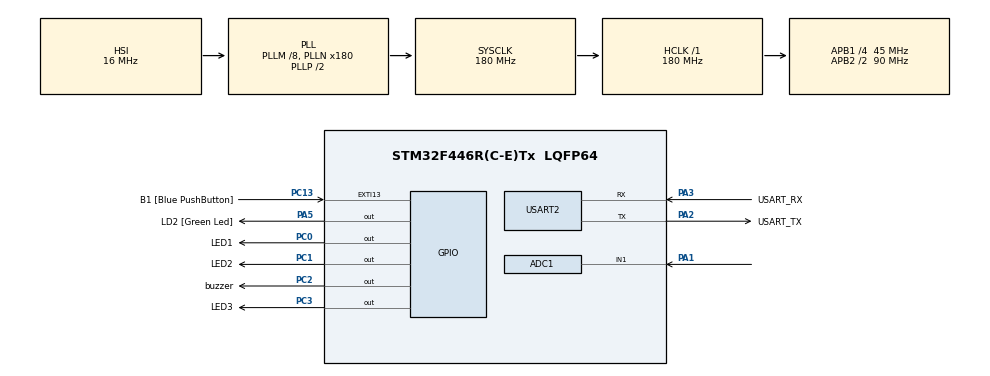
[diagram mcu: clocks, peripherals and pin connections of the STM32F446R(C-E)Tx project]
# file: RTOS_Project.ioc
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ADC1.Channel-0\#ChannelRegularConversion=ADC_CHANNEL_1
ADC1.ClockPrescaler=ADC_CLOCK_SYNC_PCLK_DIV4
ADC1.ContinuousConvMode=DISABLE
ADC1.DMAContinuousRequests=DISABLE
ADC1.DataAlign=ADC_DATAALIGN_RIGHT
ADC1.DiscontinuousConvMode=DISABLE
ADC1.EOCSelection=ADC_EOC_SINGLE_CONV
ADC1.EnableAnalogWatchDog=false
ADC1.ExternalTrigConv=ADC_SOFTWARE_START
ADC1.ExternalTrigConvEdge=ADC_EXTERNALTRIGCONVEDGE_NONE
ADC1.InjNumberOfConversion=0
ADC1.NbrOfConversion=1
ADC1.NbrOfConversionFlag=1
ADC1.Rank-0\#ChannelRegularConversion=1
ADC1.Resolution=ADC_RESOLUTION_12B
ADC1.SamplingTime-0\#ChannelRegularConversion=ADC_SAMPLETIME_480CYCLES
ADC1.ScanConvMode=DISABLE
ADC1.master=1
FREERTOS.Mutexes01=myMutexUART,Dynamic,NULL;myMutexADC,Dynamic,NULL
FREERTOS.Tasks01=defaultTask,0,128,StartDefaultTask,Default,NULL,Dynamic,NULL,NULL;myTask02,0,128,StartTask02,Default,NULL,Dynamic,NULL,NULL;myTask03,0,128,StartTask03,Default,NULL,Dynamic,NULL,NULL;myTask04,0,128,StartTask04,Default,NULL,Dynamic,NULL,NULL
Mcu.Family=STM32F4
Mcu.Name=STM32F446R(C-E)Tx
Mcu.Package=LQFP64
NVIC.PriorityGroup=NVIC_PRIORITYGROUP_4
NVIC.TIM2_IRQn=true\:0\:0\:false\:false\:true\:false\:false
NVIC.TimeBase=TIM2_IRQn
NVIC.TimeBaseIP=TIM2
PA1.Signal=ADCx_IN1
PA13.GPIO_Label=TMS
PA13.Mode=Serial_Wire
PA13.Signal=SYS_JTMS-SWDIO
PA14.GPIO_Label=TCK
PA14.Mode=Serial_Wire
PA14.Signal=SYS_JTCK-SWCLK
PA2.GPIO_Label=USART_TX
PA2.Mode=Asynchronous
PA2.Signal=USART2_TX
PA3.GPIO_Label=USART_RX
PA3.Mode=Asynchronous
PA3.Signal=USART2_RX
PA5.GPIO_Label=LD2 [Green Led]
PA5.Signal=GPIO_Output
PB3.GPIO_Label=SWO
PB3.Signal=SYS_JTDO-SWO
PC0.GPIO_Label=LED1
PC0.Signal=GPIO_Output
PC1.GPIO_Label=LED2
PC1.Signal=GPIO_Output
PC13.GPIO_Label=B1 [Blue PushButton]
PC13.GPIO_ModeDefaultEXTI=GPIO_MODE_IT_FALLING
PC13.Signal=GPXTI13
PC14-OSC32_IN.Mode=LSE-External-Oscillator
PC14-OSC32_IN.Signal=RCC_OSC32_IN
PC15-OSC32_OUT.Mode=LSE-External-Oscillator
PC15-OSC32_OUT.Signal=RCC_OSC32_OUT
PC2.GPIO_Label=buzzer
PC2.Signal=GPIO_Output
PC3.GPIO_Label=LED3
PC3.Signal=GPIO_Output
PH0-OSC_IN.Mode=HSE-External-Oscillator
PH0-OSC_IN.Signal=RCC_OSC_IN
PH1-OSC_OUT.Mode=HSE-External-Oscillator
PH1-OSC_OUT.Signal=RCC_OSC_OUT
ProjectManager.HeapSize=0x200
ProjectManager.StackSize=0x400
ProjectManager.TargetToolchain=SW4STM32
RCC.48MHZClocksFreq_Value=84000000
RCC.AHBFreq_Value=180000000
RCC.APB1CLKDivider=RCC_HCLK_DIV4
RCC.APB1Freq_Value=45000000
RCC.APB1TimFreq_Value=90000000
RCC.APB2CLKDivider=RCC_HCLK_DIV2
RCC.APB2Freq_Value=90000000
RCC.APB2TimFreq_Value=180000000
RCC.CortexFreq_Value=180000000
RCC.FLatency-AdvancedSettings=FLASH_LATENCY_5
RCC.HCLKFreq_Value=180000000
RCC.HSE_VALUE=8000000
RCC.HSI_VALUE=16000000
RCC.PLLM=8
RCC.PLLN=180
RCC.SYSCLKFreq_VALUE=180000000
RCC.SYSCLKSource=RCC_SYSCLKSOURCE_PLLCLK
RCC.USBFreq_Value=180000000
RCC.VCOOutputFreq_Value=360000000
SH.ADCx_IN1.0=ADC1_IN1,IN1
USART2.VirtualMode=VM_ASYNC
VP_FREERTOS_VS_ENABLE.Mode=Enabled
VP_SYS_VS_tim2.Mode=TIM2
board=NUCLEO-F446RE

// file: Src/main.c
/*
 * Tegangan input ditampilkan dilayar komputer setiap 3 detik
 * dapat di intervensi dgn menekan tombol 'a' pada keyboard
 *
 * buzzer On ketika nilai input > 2000
 *
 * Indikator LED berkedip dgn durasi ON: 100ms dan OFF:1000ms
 */

#include "main.h"
#include "stm32f4xx_hal.h"
#include "cmsis_os.h"

char buff[]="hello world \n\r";
int adcValue;
float volt;
char ch[1];/* USER CODE END PV */

ADC_HandleTypeDef hadc1;

UART_HandleTypeDef huart2;

osThreadId defaultTaskHandle;
osThreadId myTask02Handle;
osThreadId myTask03Handle;
osThreadId myTask04Handle;
osMutexId myMutexUARTHandle;
osMutexId myMutexADCHandle;

/* USER CODE BEGIN PV */
/* Private variables ---------------------------------------------------------*/

/* USER CODE END PV */

void SystemClock_Config(void);
static void MX_GPIO_Init(void);
static void MX_USART2_UART_Init(void);
static void MX_ADC1_Init(void);
void StartDefaultTask(void const * argument);
void StartTask02(void const * argument);
void StartTask03(void const * argument);
void StartTask04(void const * argument);

/* USER CODE BEGIN PFP */
/* Private function prototypes -----------------------------------------------*/

/* USER CODE END PFP */

int main(void)
{

	/* MCU Configuration----------------------------------------------------------*/

	/* Reset of all peripherals, Initializes the Flash interface and the Systick. */
	HAL_Init();

	/* Configure the system clock */
	SystemClock_Config();

	/* Initialize all configured peripherals */
	MX_GPIO_Init();
	MX_USART2_UART_Init();
	MX_ADC1_Init();

	/* Create the mutex(es) */
	/* definition and creation of myMutexUART */
	osMutexDef(myMutexUART);
	myMutexUARTHandle = osMutexCreate(osMutex(myMutexUART));

	/* definition and creation of myMutexADC */
	osMutexDef(myMutexADC);
	myMutexADCHandle = osMutexCreate(osMutex(myMutexADC));

	/* Create the thread(s) */
	/* definition and creation of defaultTask */
	osThreadDef(defaultTask, StartDefaultTask, osPriorityNormal, 0, 256);
	defaultTaskHandle = osThreadCreate(osThread(defaultTask), NULL);

	/* definition and creation of myTask02 */
	osThreadDef(myTask02, StartTask02, osPriorityNormal, 0, 256);
	myTask02Handle = osThreadCreate(osThread(myTask02), NULL);

	/* definition and creation of myTask03 */
	osThreadDef(myTask03, StartTask03, osPriorityNormal, 0, 256);
	myTask03Handle = osThreadCreate(osThread(myTask03), NULL);

	/* definition and creation of myTask04 */
	osThreadDef(myTask04, StartTask04, osPriorityNormal, 0, 256);
	myTask04Handle = osThreadCreate(osThread(myTask04), NULL);

	/* Start scheduler */
	osKernelStart();

	/* We should never get here as control is now taken by the scheduler */

	/* Infinite loop */
	while (1)
	{

	}

}

void SystemClock_Config(void)
{

	RCC_OscInitTypeDef RCC_OscInitStruct;
	RCC_ClkInitTypeDef RCC_ClkInitStruct;

	/**Configure the main internal regulator output voltage
	 */
	__HAL_RCC_PWR_CLK_ENABLE();

	__HAL_PWR_VOLTAGESCALING_CONFIG(PWR_REGULATOR_VOLTAGE_SCALE1);

	/**Initializes the CPU, AHB and APB busses clocks
	 */
	RCC_OscInitStruct.OscillatorType = RCC_OSCILLATORTYPE_HSI;
	RCC_OscInitStruct.HSIState = RCC_HSI_ON;
	RCC_OscInitStruct.HSICalibrationValue = 16;
	RCC_OscInitStruct.PLL.PLLState = RCC_PLL_ON;
	RCC_OscInitStruct.PLL.PLLSource = RCC_PLLSOURCE_HSI;
	RCC_OscInitStruct.PLL.PLLM = 8;
	RCC_OscInitStruct.PLL.PLLN = 180;
	RCC_OscInitStruct.PLL.PLLP = RCC_PLLP_DIV2;
	RCC_OscInitStruct.PLL.PLLQ = 2;
	RCC_OscInitStruct.PLL.PLLR = 2;
	if (HAL_RCC_OscConfig(&RCC_OscInitStruct) != HAL_OK)
	{
		_Error_Handler(__FILE__, __LINE__);
	}

	/**Activate the Over-Drive mode
	 */
	if (HAL_PWREx_EnableOverDrive() != HAL_OK)
	{
		_Error_Handler(__FILE__, __LINE__);
	}

	/**Initializes the CPU, AHB and APB busses clocks
	 */
	RCC_ClkInitStruct.ClockType = RCC_CLOCKTYPE_HCLK|RCC_CLOCKTYPE_SYSCLK
			|RCC_CLOCKTYPE_PCLK1|RCC_CLOCKTYPE_PCLK2;
	RCC_ClkInitStruct.SYSCLKSource = RCC_SYSCLKSOURCE_PLLCLK;
	RCC_ClkInitStruct.AHBCLKDivider = RCC_SYSCLK_DIV1;
	RCC_ClkInitStruct.APB1CLKDivider = RCC_HCLK_DIV4;
	RCC_ClkInitStruct.APB2CLKDivider = RCC_HCLK_DIV2;

	if (HAL_RCC_ClockConfig(&RCC_ClkInitStruct, FLASH_LATENCY_5) != HAL_OK)
	{
		_Error_Handler(__FILE__, __LINE__);
	}

	/**Configure the Systick interrupt time
	 */
	HAL_SYSTICK_Config(HAL_RCC_GetHCLKFreq()/1000);

	/**Configure the Systick
	 */
	HAL_SYSTICK_CLKSourceConfig(SYSTICK_CLKSOURCE_HCLK);

	/* SysTick_IRQn interrupt configuration */
	HAL_NVIC_SetPriority(SysTick_IRQn, 15, 0);
}

/* ADC1 init function */
static void MX_ADC1_Init(void)
{

	ADC_ChannelConfTypeDef sConfig;

	/**Configure the global features of the ADC (Clock, Resolution, Data Alignment and number of conversion)
	 */
	hadc1.Instance = ADC1;
	hadc1.Init.ClockPrescaler = ADC_CLOCK_SYNC_PCLK_DIV4;
	hadc1.Init.Resolution = ADC_RESOLUTION_12B;
	hadc1.Init.ScanConvMode = DISABLE;
	hadc1.Init.ContinuousConvMode = DISABLE;
	hadc1.Init.DiscontinuousConvMode = DISABLE;
	hadc1.Init.ExternalTrigConvEdge = ADC_EXTERNALTRIGCONVEDGE_NONE;
	hadc1.Init.ExternalTrigConv = ADC_SOFTWARE_START;
	hadc1.Init.DataAlign = ADC_DATAALIGN_RIGHT;
	hadc1.Init.NbrOfConversion = 1;
	hadc1.Init.DMAContinuousRequests = DISABLE;
	hadc1.Init.EOCSelection = ADC_EOC_SINGLE_CONV;
	if (HAL_ADC_Init(&hadc1) != HAL_OK)
	{
		_Error_Handler(__FILE__, __LINE__);
	}

	/**Configure for the selected ADC regular channel its corresponding rank in the sequencer and its sample time.
	 */
	sConfig.Channel = ADC_CHANNEL_1;
	sConfig.Rank = 1;
	sConfig.SamplingTime = ADC_SAMPLETIME_480CYCLES;
	if (HAL_ADC_ConfigChannel(&hadc1, &sConfig) != HAL_OK)
	{
		_Error_Handler(__FILE__, __LINE__);
	}

}

/* USART2 init function */
static void MX_USART2_UART_Init(void)
{

	huart2.Instance = USART2;
	huart2.Init.BaudRate = 115200;
	huart2.Init.WordLength = UART_WORDLENGTH_8B;
	huart2.Init.StopBits = UART_STOPBITS_1;
	huart2.Init.Parity = UART_PARITY_NONE;
	huart2.Init.Mode = UART_MODE_TX_RX;
	huart2.Init.HwFlowCtl = UART_HWCONTROL_NONE;
	huart2.Init.OverSampling = UART_OVERSAMPLING_16;
	if (HAL_UART_Init(&huart2) != HAL_OK)
	{
		_Error_Handler(__FILE__, __LINE__);
	}

}

/** Configure pins as
 * Analog
 * Input
 * Output
 * EVENT_OUT
 * EXTI
 */
static void MX_GPIO_Init(void)
{

	GPIO_InitTypeDef GPIO_InitStruct;

	/* GPIO Ports Clock Enable */
	__HAL_RCC_GPIOC_CLK_ENABLE();
	__HAL_RCC_GPIOH_CLK_ENABLE();
	__HAL_RCC_GPIOA_CLK_ENABLE();
	__HAL_RCC_GPIOB_CLK_ENABLE();

	/*Configure GPIO pin Output Level */
	HAL_GPIO_WritePin(GPIOC, LED1_Pin|LED2_Pin|buzzer_Pin|LED3_Pin, GPIO_PIN_RESET);

	/*Configure GPIO pin Output Level */
	HAL_GPIO_WritePin(LD2_GPIO_Port, LD2_Pin, GPIO_PIN_RESET);

	/*Configure GPIO pin : B1_Pin */
	GPIO_InitStruct.Pin = B1_Pin;
	GPIO_InitStruct.Mode = GPIO_MODE_IT_FALLING;
	GPIO_InitStruct.Pull = GPIO_NOPULL;
	HAL_GPIO_Init(B1_GPIO_Port, &GPIO_InitStruct);

	/*Configure GPIO pins : LED1_Pin LED2_Pin buzzer_Pin LED3_Pin */
	GPIO_InitStruct.Pin = LED1_Pin|LED2_Pin|buzzer_Pin|LED3_Pin;
	GPIO_InitStruct.Mode = GPIO_MODE_OUTPUT_PP;
	GPIO_InitStruct.Pull = GPIO_NOPULL;
	GPIO_InitStruct.Speed = GPIO_SPEED_FREQ_LOW;
	HAL_GPIO_Init(GPIOC, &GPIO_InitStruct);

	/*Configure GPIO pin : LD2_Pin */
	GPIO_InitStruct.Pin = LD2_Pin;
	GPIO_InitStruct.Mode = GPIO_MODE_OUTPUT_PP;
	GPIO_InitStruct.Pull = GPIO_NOPULL;
	GPIO_InitStruct.Speed = GPIO_SPEED_FREQ_LOW;
	HAL_GPIO_Init(LD2_GPIO_Port, &GPIO_InitStruct);

	HAL_GPIO_WritePin(LED1_GPIO_Port,LED1_Pin,GPIO_PIN_SET);
	HAL_GPIO_WritePin(LED2_GPIO_Port,LED2_Pin,GPIO_PIN_SET);
	HAL_GPIO_WritePin(LED3_GPIO_Port,LED3_Pin,GPIO_PIN_SET);

}

/* StartDefaultTask function */
void StartDefaultTask(void const * argument)
{

	/* USER CODE BEGIN 5 */
	/* Infinite loop */

	for(;;)
	{
		HAL_GPIO_WritePin(LED1_GPIO_Port,LED1_Pin,GPIO_PIN_RESET);
		osDelay(100);
		HAL_GPIO_WritePin(LED1_GPIO_Port,LED1_Pin,GPIO_PIN_SET);
		osDelay(1000);
	}
	/* USER CODE END 5 */
}

/* StartTask02 function */
void StartTask02(void const * argument)
{
	/* USER CODE BEGIN StartTask02 */
	//	baca adc tampilkan diserial
	/* Infinite loop */
	for(;;)
	{
//		if (osMutexWait(myMutexADCHandle,50)==osOK)
		osMutexWait(myMutexADCHandle,osWaitForever);
		HAL_ADC_Start(&hadc1);
		HAL_ADC_PollForConversion(&hadc1,100);
		adcValue= HAL_ADC_GetValue(&hadc1);
		osMutexRelease(myMutexADCHandle);

		sprintf(buff, "value: %d \n\r",adcValue);
		osMutexWait(myMutexUARTHandle,osWaitForever);
		HAL_UART_Transmit(&huart2,(uint8_t*)buff,sizeof(buff),1000);
		osMutexRelease(myMutexUARTHandle);
		if (adcValue>2000) {
			osSignalSet(myTask03Handle,1);
		}
		osDelay(3000);
	}

}
/* USER CODE END StartTask02 */

/* StartTask03 function */
void StartTask03(void const * argument)
{
	/* USER CODE BEGIN StartTask03 */
	/* Infinite loop */

	/* USER CODE BEGIN 5 */
	/* Infinite loop */
	for(;;)
	{
		osSignalWait(1,osWaitForever);
		for (uint8_t i =0; i<5;i++) {
			HAL_GPIO_WritePin(buzzer_GPIO_Port,buzzer_Pin,GPIO_PIN_SET);
			osDelay(70);
			HAL_GPIO_WritePin(buzzer_GPIO_Port,buzzer_Pin,GPIO_PIN_RESET);
			osDelay(100);
		}

	}
	/* USER CODE END StartTask03 */
}

/* StartTask04 function */
void StartTask04(void const * argument)
{
	/* USER CODE BEGIN StartTask04 */
	/* Infinite loop */
	osDelay(100);
	for(;;)
	{
//		osMutexWait(myMutexADCHandle,osWaitForever);
		if (HAL_UART_Receive(&huart2,(uint8_t*)ch,1,10)==HAL_OK)
		{
			if (ch[0]=='a') {
				osMutexWait(myMutexADCHandle,osWaitForever);
				HAL_ADC_Start(&hadc1);
				HAL_ADC_PollForConversion(&hadc1,100);
				adcValue= HAL_ADC_GetValue(&hadc1);
				osMutexRelease(myMutexADCHandle);

				sprintf(buff, "nilai: %d \n\r",adcValue);
				osMutexWait(myMutexUARTHandle,osWaitForever);
				HAL_UART_Transmit(&huart2,(uint8_t*)buff,sizeof(buff),1000);
				osMutexRelease(myMutexUARTHandle);
			}
		}
//		osMutexRelease(myMutexUARTHandle);
		osDelay(50);
	}
	/* USER CODE END StartTask04 */
}

void HAL_TIM_PeriodElapsedCallback(TIM_HandleTypeDef *htim)
{
	if (htim->Instance == TIM2) {
		HAL_IncTick();
	}
}

void _Error_Handler(char *file, int line)
{
	while(1)
	{
	}
}

/************************ (C) COPYRIGHT STMicroelectronics *****END OF FILE****/
